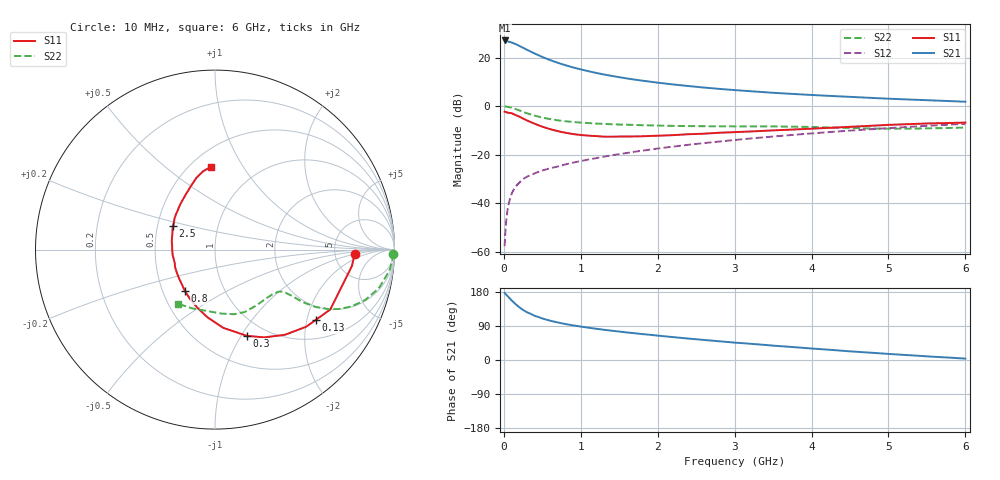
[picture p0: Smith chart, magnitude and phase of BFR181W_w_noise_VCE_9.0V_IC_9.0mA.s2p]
! (c) 2017  Infineon Technologies AG, Munich
! Infineon Technologies  Discrete & RF Semiconductors
! BFR181W
! VCE =  9.0 V,  IC =  9.0 mA
! Common Emitter S-Parameters:  Jan 2017
# GHz  S  MA  R  50
!  f  S11  S21  S12  S22
! GHz  MAG  ANG  MAG  ANG  MAG  ANG  MAG  ANG
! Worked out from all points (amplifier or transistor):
!   77 points, 10 MHz to 6 GHz, reference 50 ohm
!   highest |S21| = 27.2 dB at 10 MHz (marker M1)
!   |S21| within 3 dB of that: start of sweep to 249.4 MHz
!   unconditionally stable (mu >= 1): 1.113 GHz to 3.125 GHz
!   at 130 MHz: K = 0.25, MSG = 30.1 dB, |S12| = -34.3 dB
!   at 2.2 GHz: K = 1.06, MAG = 11.4 dB, |S12| = -16.6 dB
!   at 6 GHz: K = 0.86, MSG = 4.6 dB, |S12| = -7.2 dB
!   lowest NFmin = 1.18 dB at 450 MHz
!   S11 on the Smith chart (normalised r, x): 10 MHz: 7.92, -0.98; 130 MHz: 1.54, -2.27; 300 MHz: 0.81, -1.06; 800 MHz: 0.65, -0.33; 2.5 GHz: 0.60, +0.17; 6 GHz: 0.63, +0.73
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0.01  0.7788 -1.8  22.86 177.4  0.0013 90.1  0.9942 -1.3
0.02  0.7683 -6.8  22.61 174.5  0.0025 96.4  0.9918 -2.6
0.05  0.7417 -13.8  21.93 168.3  0.0076 82.3  0.979 -6.9
0.1  0.7241 -27.4  20.8 157.4  0.0155 78.3  0.9377 -13.3
0.13  0.6848 -34.8  19.86 151.9  0.0193 73.7  0.9042 -16.3
0.15  0.6656 -40.2  19.35 147.9  0.0219 71.5  0.8834 -18.5
0.2  0.6142 -50.6  17.69 139.3  0.0265 68.5  0.8255 -22.5
0.25  0.5604 -60.8  16.17 132.1  0.0315 64.5  0.7706 -25.4
0.3  0.5122 -69.7  14.68 126.1  0.0352 63.3  0.7198 -27.5
0.4  0.4383 -84.0  12.3 116.6  0.0413 61.3  0.6412 -29.8
0.5  0.38 -96.2  10.42 109.6  0.0475 60.6  0.5846 -30.7
0.6  0.3383 -107.0  9.023 103.8  0.0526 61.3  0.5441 -31.0
0.8  0.285 -126.1  7.06 94.9  0.0631 62.9  0.4923 -31.1
1.1  0.2484 -149.1  5.301 85.3  0.0798 64.4  0.4514 -31.7
1.3  0.2365 -161.9  4.54 79.8  0.0914 65.3  0.4339 -32.7
1.6  0.2379 -177.9  3.756 72.7  0.1088 65.9  0.4173 -35.2
2.1  0.2504 162.4  2.95 62.4  0.1408 65.6  0.3975 -41.6
2.5  0.2688 150.1  2.53 54.8  0.1674 64.7  0.3896 -48.0
3.1  0.2977 135.4  2.107 44.5  0.209 62.1  0.3847 -58.0
4.1  0.3515 116.9  1.683 28.9  0.2836 55.9  0.3716 -75.2
5.1  0.4193 103.1  1.416 14.8  0.3627 48.1  0.3446 -99.7
6  0.4617 92.7  1.245 3.7  0.4358 39.9  0.3651 -124.1
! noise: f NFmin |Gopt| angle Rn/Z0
0.45  1.18  0.17  16  0.21
0.9  1.23  0.16  31  0.21
1.9  1.65  0.05  107  0.2
2.4  1.82  0.03  116  0.23
